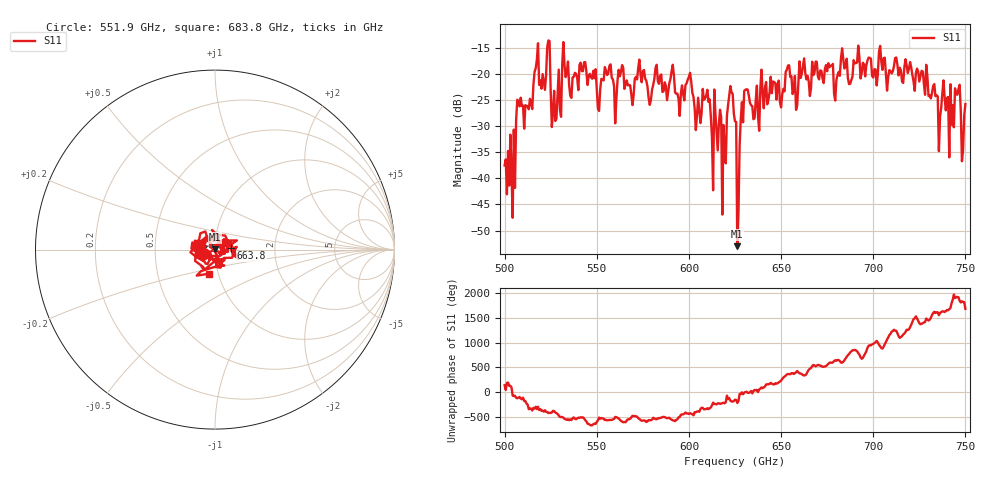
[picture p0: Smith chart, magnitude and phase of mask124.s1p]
!Created with skrf (http://scikit-rf.org).
# GHz S MA R 50.0
!freq magS11 angS11
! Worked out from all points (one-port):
!   401 points, 500 GHz to 750 GHz, reference 50 ohm
!   lowest |S11| = -53.0 dB at 626.2 GHz (marker M1), VSWR 1.00, Z = 49.8 + j0.122 ohm
!   |S11| at or under -10 dB: start of sweep to end of sweep
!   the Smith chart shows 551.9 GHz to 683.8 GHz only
!   S11 on the Smith chart (normalised r, x): 551.9 GHz: 0.87, -0.02; 663.8 GHz: 1.19, +0.02; 683.8 GHz: 0.90, -0.25
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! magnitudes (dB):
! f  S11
! 500 GHz  -37.5
! 505 GHz  -30.6
! 507.5 GHz  -25.2
! 513.8 GHz  -24.7
! 516.9 GHz  -18.9
! 523.8 GHz  -13.5
! 526.9 GHz  -23.2
! 531.2 GHz  -18.3
! 542.5 GHz  -19.4
! 551.9 GHz  -22.8
! 562.5 GHz  -20.4
! 578.8 GHz  -25.9
! 590.6 GHz  -19.3
! 593.8 GHz  -23.7
! 610 GHz  -23.0
! 618.8 GHz  -29.8
! 622.5 GHz  -22.3
! 625 GHz  -29.0
! 626.2 GHz  -53.0
! 631.2 GHz  -22.9
! 636.9 GHz  -22.2
! 656.2 GHz  -23.8
! 663.8 GHz  -21.0
! 680 GHz  -21.2
! 683.8 GHz  -17.1
! 687.5 GHz  -21.8
! 718.8 GHz  -19.8
! 750 GHz  -25.7
